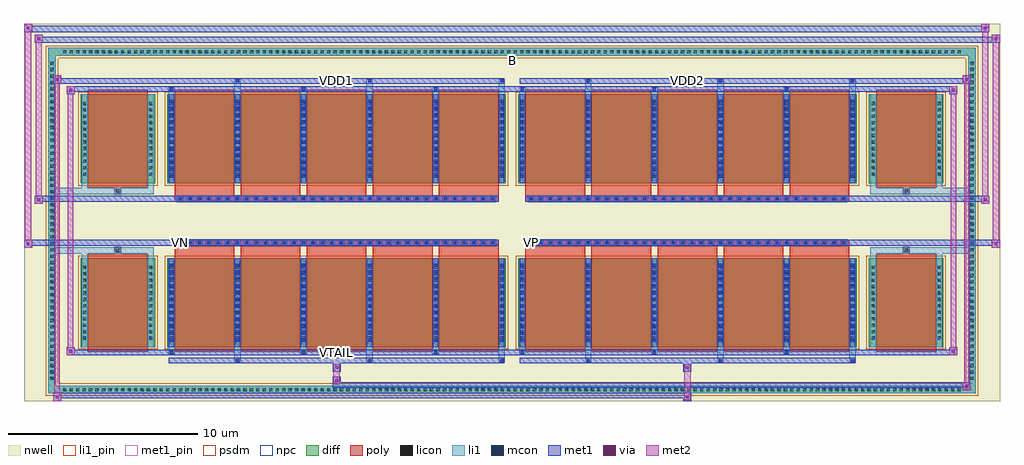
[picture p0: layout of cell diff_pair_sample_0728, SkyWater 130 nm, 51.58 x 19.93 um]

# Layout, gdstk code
import gdstk
lib = gdstk.Library(unit=1e-6, precision=5e-09)
def R(c, l, rs):  # rectangles x0, y0, x1, y1
    for r in rs: c.add(gdstk.rectangle(r[:2], r[2:], *l))
def A(c, l, x, y, w, h, nx, ny, dx, dy):  # array of equal rectangles
    R(c, l, [(x+i*dx, y+j*dy, x+i*dx+w, y+j*dy+h) for i in range(nx) for j in range(ny)])
def P(c, l, *ps):  # polygons
    for p in ps: c.add(gdstk.Polygon(p, *l))
nwell = (64, 20)
diff = (65, 20)
poly = (66, 20)
licon = (66, 44)
li1_pin = (67, 16)
li1 = (67, 20)
mcon = (67, 44)
met1_pin = (68, 16)
met1 = (68, 20)
via = (68, 44)
met2 = (69, 20)
psdm = (94, 20)
npc = (95, 20)

diff_pair_sample_0728 = lib.new_cell('diff_pair_sample_0728')
R(diff_pair_sample_0728, nwell, [(-25.79,-9.53,25.79,10.4), (-23.11,-7.72,-0.01,-0.8), (0.01,-7.72,23.11,-0.8), (-23.11,0.8,-0.01,7.72), (0.01,0.8,23.11,7.72)])
A(diff_pair_sample_0728, diff, -23.835, -9.13, 0.41, 0.41, 140, 2, 0.34, 17.85)
A(diff_pair_sample_0728, diff, -24.52, -8.535, 0.41, 0.41, 1, 50, 0, 0.34)
A(diff_pair_sample_0728, diff, 24.11, -8.535, 0.41, 0.41, 1, 50, 0, 0.34)
R(diff_pair_sample_0728, diff, [(-23.835,-9.13,23.835,-8.72), (-24.52,-8.535,-24.11,8.535), (24.11,-8.535,24.52,8.535), (-22.8,-6.675,-18.86,-1.985), (-18.22,-6.675,-0.32,-1.985), (0.32,-6.675,18.22,-1.985), (18.86,-6.675,22.8,-1.985), (-22.8,1.985,-18.86,6.675), (-18.22,1.985,-0.32,6.675), (0.32,1.985,18.22,6.675), (18.86,1.985,22.8,6.675), (-23.835,8.72,23.835,9.13)])
P(diff_pair_sample_0728, diff, [(24.52,9.13),(-24.52,9.13),(-24.52,-8.72),(-24.11,-8.72),(-24.11,8.72),(24.11,8.72),(24.11,-8.72),(-24.11,-8.72),(-24.52,-8.72),(-24.52,-9.13),(24.52,-9.13)])
A(diff_pair_sample_0728, poly, -17.83, -6.925, 3.16, 5.19, 5, 2, 3.49, 8.66)
A(diff_pair_sample_0728, poly, 0.71, -6.925, 3.16, 5.19, 5, 2, 3.49, 8.66)
A(diff_pair_sample_0728, poly, -17.83, -1.735, 3.16, 0.405, 5, 2, 3.49, 3.065)
A(diff_pair_sample_0728, poly, 0.71, -1.735, 3.16, 0.405, 5, 2, 3.49, 3.065)
A(diff_pair_sample_0728, poly, -17.685, -1.33, 0.33, 0.33, 34, 2, 0.5, 2.33)
A(diff_pair_sample_0728, poly, 0.855, -1.33, 0.33, 0.33, 34, 2, 0.5, 2.33)
R(diff_pair_sample_0728, poly, [(-22.41,-6.925,-19.25,-1.735), (19.25,-6.925,22.41,-1.735), (-20.995,-1.735,-20.665,-1.405), (-20.995,-1.735,-20.665,-1.405), (20.665,-1.735,20.995,-1.405), (20.665,-1.735,20.995,-1.405), (-17.83,-1.33,-0.71,-1), (0.71,-1.33,17.83,-1), (-17.83,1,-0.71,1.33), (0.71,1,17.83,1.33), (-20.995,1.405,-20.665,1.735), (-20.995,1.405,-20.665,1.735), (20.665,1.405,20.995,1.735), (20.665,1.405,20.995,1.735), (-22.41,1.735,-19.25,6.925), (19.25,1.735,22.41,6.925)])
A(diff_pair_sample_0728, licon, -23.715, -9.01, 0.17, 0.17, 140, 2, 0.34, 17.85)
A(diff_pair_sample_0728, licon, -24.4, -8.415, 0.17, 0.17, 1, 50, 0, 0.34)
A(diff_pair_sample_0728, licon, 24.23, -8.415, 0.17, 0.17, 1, 50, 0, 0.34)
A(diff_pair_sample_0728, licon, -22.66, -6.285, 0.17, 0.17, 1, 12, 0, 0.34)
A(diff_pair_sample_0728, licon, -19.17, -6.285, 0.17, 0.17, 1, 12, 0, 0.34)
A(diff_pair_sample_0728, licon, -18.08, -6.285, 0.17, 0.17, 6, 12, 3.49, 0.34)
A(diff_pair_sample_0728, licon, 0.46, -6.285, 0.17, 0.17, 6, 12, 3.49, 0.34)
A(diff_pair_sample_0728, licon, 19, -6.285, 0.17, 0.17, 1, 12, 0, 0.34)
A(diff_pair_sample_0728, licon, 22.49, -6.285, 0.17, 0.17, 1, 12, 0, 0.34)
A(diff_pair_sample_0728, licon, -17.605, -1.25, 0.17, 0.17, 34, 2, 0.5, 2.33)
A(diff_pair_sample_0728, licon, 0.935, -1.25, 0.17, 0.17, 34, 2, 0.5, 2.33)
A(diff_pair_sample_0728, licon, -22.66, 2.375, 0.17, 0.17, 1, 12, 0, 0.34)
A(diff_pair_sample_0728, licon, -19.17, 2.375, 0.17, 0.17, 1, 12, 0, 0.34)
A(diff_pair_sample_0728, licon, -18.08, 2.375, 0.17, 0.17, 6, 12, 3.49, 0.34)
A(diff_pair_sample_0728, licon, 0.46, 2.375, 0.17, 0.17, 6, 12, 3.49, 0.34)
A(diff_pair_sample_0728, licon, 19, 2.375, 0.17, 0.17, 1, 12, 0, 0.34)
A(diff_pair_sample_0728, licon, 22.49, 2.375, 0.17, 0.17, 1, 12, 0, 0.34)
R(diff_pair_sample_0728, licon, [(-20.915,-1.655,-20.745,-1.485), (20.745,-1.655,20.915,-1.485), (-20.915,1.485,-20.745,1.655), (20.745,1.485,20.915,1.655)])
R(diff_pair_sample_0728, li1_pin, [(-0.25,8.22,0.25,8.72)])
A(diff_pair_sample_0728, li1, -23.795, -9.09, 0.33, 0.33, 140, 2, 0.34, 17.85)
A(diff_pair_sample_0728, li1, -24.48, -8.495, 0.33, 0.33, 1, 50, 0, 0.34)
A(diff_pair_sample_0728, li1, 24.15, -8.495, 0.33, 0.33, 1, 50, 0, 0.34)
A(diff_pair_sample_0728, li1, -14.67, -7.48, 0.33, 0.805, 3, 2, 6.98, 14.155)
A(diff_pair_sample_0728, li1, -14.59, -7.48, 0.17, 0.17, 3, 2, 6.98, 14.79)
A(diff_pair_sample_0728, li1, 3.87, -7.48, 0.33, 0.805, 3, 2, 6.98, 14.155)
A(diff_pair_sample_0728, li1, 3.95, -7.48, 0.17, 0.17, 3, 2, 6.98, 14.79)
A(diff_pair_sample_0728, li1, -18.16, -7.05, 0.33, 0.375, 3, 2, 6.98, 13.725)
A(diff_pair_sample_0728, li1, -18.08, -7.05, 0.17, 0.17, 3, 2, 6.98, 13.93)
A(diff_pair_sample_0728, li1, 0.38, -7.05, 0.33, 0.375, 3, 2, 6.98, 13.725)
A(diff_pair_sample_0728, li1, 0.46, -7.05, 0.17, 0.17, 3, 2, 6.98, 13.93)
A(diff_pair_sample_0728, li1, -18.16, -6.675, 0.33, 4.69, 6, 2, 3.49, 8.66)
A(diff_pair_sample_0728, li1, 0.38, -6.675, 0.33, 4.69, 6, 2, 3.49, 8.66)
A(diff_pair_sample_0728, li1, -18.08, -6.395, 0.17, 0.17, 6, 12, 3.49, 0.36)
A(diff_pair_sample_0728, li1, -18.08, -6.395, 0.17, 4.13, 6, 2, 3.49, 8.66)
A(diff_pair_sample_0728, li1, 0.46, -6.395, 0.17, 0.17, 6, 12, 3.49, 0.36)
A(diff_pair_sample_0728, li1, 0.46, -6.395, 0.17, 4.13, 6, 2, 3.49, 8.66)
A(diff_pair_sample_0728, li1, -22.74, -6.365, 0.33, 0.33, 1, 12, 0, 0.34)
A(diff_pair_sample_0728, li1, -19.25, -6.365, 0.33, 0.33, 1, 12, 0, 0.34)
A(diff_pair_sample_0728, li1, -18.16, -6.365, 0.33, 0.33, 6, 12, 3.49, 0.34)
A(diff_pair_sample_0728, li1, 0.38, -6.365, 0.33, 0.33, 6, 12, 3.49, 0.34)
A(diff_pair_sample_0728, li1, 18.92, -6.365, 0.33, 0.33, 1, 12, 0, 0.34)
A(diff_pair_sample_0728, li1, 22.41, -6.365, 0.33, 0.33, 1, 12, 0, 0.34)
A(diff_pair_sample_0728, li1, -17.685, -1.33, 0.33, 0.33, 34, 2, 0.5, 2.33)
A(diff_pair_sample_0728, li1, 0.855, -1.33, 0.33, 0.33, 34, 2, 0.5, 2.33)
A(diff_pair_sample_0728, li1, -18.08, 2.265, 0.17, 0.17, 6, 12, 3.49, 0.36)
A(diff_pair_sample_0728, li1, 0.46, 2.265, 0.17, 0.17, 6, 12, 3.49, 0.36)
A(diff_pair_sample_0728, li1, -22.74, 2.295, 0.33, 0.33, 1, 12, 0, 0.34)
A(diff_pair_sample_0728, li1, -19.25, 2.295, 0.33, 0.33, 1, 12, 0, 0.34)
A(diff_pair_sample_0728, li1, -18.16, 2.295, 0.33, 0.33, 6, 12, 3.49, 0.34)
A(diff_pair_sample_0728, li1, 0.38, 2.295, 0.33, 0.33, 6, 12, 3.49, 0.34)
A(diff_pair_sample_0728, li1, 18.92, 2.295, 0.33, 0.33, 1, 12, 0, 0.34)
A(diff_pair_sample_0728, li1, 22.41, 2.295, 0.33, 0.33, 1, 12, 0, 0.34)
R(diff_pair_sample_0728, li1, [(-24.52,-9.13,-24.11,-8.72), (-24.52,-9.13,-24.11,-8.72), (-24.11,-9.13,24.11,-8.72), (24.11,-9.13,24.52,-8.72), (24.11,-9.13,24.52,-8.72), (-24.52,-8.72,-24.11,8.72), (24.11,-8.72,24.52,8.72), (-22.74,-6.675,-22.41,-1.985), (-19.25,-6.675,-18.92,-1.985), (18.92,-6.675,19.25,-1.985), (22.41,-6.675,22.74,-1.985), (-22.74,-1.985,-22.41,-1.405), (-19.25,-1.985,-18.92,-1.405), (18.92,-1.985,19.25,-1.405), (22.41,-1.985,22.74,-1.405), (-24.52,-1.735,-20.995,-1.405), (-22.74,-1.735,-20.995,-1.405), (-20.995,-1.735,-20.665,-1.405), (-20.665,-1.735,-18.92,-1.405), (18.92,-1.735,20.665,-1.405), (20.665,-1.735,20.995,-1.405), (20.665,-1.735,24.52,-1.405), (20.995,-1.735,22.74,-1.405), (-24.52,1.405,-20.995,1.735), (-22.74,1.405,-20.995,1.735), (-22.74,1.405,-22.41,1.985), (-20.995,1.405,-20.665,1.735), (-20.665,1.405,-18.92,1.735), (-19.25,1.405,-18.92,1.985), (18.92,1.405,20.665,1.735), (18.92,1.405,19.25,1.985), (20.665,1.405,20.995,1.735), (20.665,1.405,24.52,1.735), (20.995,1.405,22.74,1.735), (22.41,1.405,22.74,1.985), (-22.74,1.985,-22.41,6.675), (-19.25,1.985,-18.92,6.675), (18.92,1.985,19.25,6.675), (22.41,1.985,22.74,6.675), (-24.52,8.72,-24.11,9.13), (-24.52,8.72,-24.11,9.13), (-24.11,8.72,24.11,9.13), (24.11,8.72,24.52,9.13), (24.11,8.72,24.52,9.13)])
A(diff_pair_sample_0728, mcon, -14.59, -7.48, 0.17, 0.17, 3, 2, 6.98, 14.79)
A(diff_pair_sample_0728, mcon, 3.95, -7.48, 0.17, 0.17, 3, 2, 6.98, 14.79)
A(diff_pair_sample_0728, mcon, -18.08, -7.05, 0.17, 0.17, 3, 2, 6.98, 13.93)
A(diff_pair_sample_0728, mcon, 0.46, -7.05, 0.17, 0.17, 3, 2, 6.98, 13.93)
A(diff_pair_sample_0728, mcon, -18.08, -6.395, 0.17, 0.17, 6, 12, 3.49, 0.36)
A(diff_pair_sample_0728, mcon, 0.46, -6.395, 0.17, 0.17, 6, 12, 3.49, 0.36)
A(diff_pair_sample_0728, mcon, -17.605, -1.25, 0.17, 0.17, 34, 2, 0.5, 2.33)
A(diff_pair_sample_0728, mcon, 0.935, -1.25, 0.17, 0.17, 34, 2, 0.5, 2.33)
A(diff_pair_sample_0728, mcon, -18.08, 2.265, 0.17, 0.17, 6, 12, 3.49, 0.36)
A(diff_pair_sample_0728, mcon, 0.46, 2.265, 0.17, 0.17, 6, 12, 3.49, 0.36)
R(diff_pair_sample_0728, met1_pin, [(-9.405,-7.09,-9.135,-6.82), (-17.655,-1.29,-17.385,-1.02), (0.885,-1.29,1.155,-1.02), (-9.405,7.27,-9.135,7.54), (9.135,7.27,9.405,7.54)])
A(diff_pair_sample_0728, met1, -14.65, -7.54, 0.29, 0.29, 3, 2, 6.98, 14.79)
A(diff_pair_sample_0728, met1, 3.89, -7.54, 0.29, 0.29, 3, 2, 6.98, 14.79)
A(diff_pair_sample_0728, met1, -18.14, -7.11, 0.29, 0.29, 3, 2, 6.98, 13.93)
A(diff_pair_sample_0728, met1, 0.4, -7.11, 0.29, 0.29, 3, 2, 6.98, 13.93)
A(diff_pair_sample_0728, met1, -18.14, -6.675, 0.29, 4.69, 6, 2, 3.49, 8.66)
A(diff_pair_sample_0728, met1, 0.4, -6.675, 0.29, 4.69, 6, 2, 3.49, 8.66)
A(diff_pair_sample_0728, met1, -18.14, -6.455, 0.29, 0.29, 6, 12, 3.49, 0.36)
A(diff_pair_sample_0728, met1, 0.4, -6.455, 0.29, 0.29, 6, 12, 3.49, 0.36)
A(diff_pair_sample_0728, met1, -17.665, -1.31, 0.29, 0.29, 34, 2, 0.5, 2.33)
A(diff_pair_sample_0728, met1, 0.875, -1.31, 0.29, 0.29, 34, 2, 0.5, 2.33)
A(diff_pair_sample_0728, met1, -18.14, 2.205, 0.29, 0.29, 6, 12, 3.49, 0.36)
A(diff_pair_sample_0728, met1, 0.4, 2.205, 0.29, 0.29, 6, 12, 3.49, 0.36)
R(diff_pair_sample_0728, met1, [(-24.25,-9.53,-23.82,-9.1), (9.055,-9.53,9.485,-9.1), (-24.25,-9.39,9.485,-9.1), (23.82,-8.96,24.25,-8.53), (-9.485,-8.82,24.25,-8.53), (-9.485,-8.68,-9.055,-8.25), (-9.485,-7.97,-9.055,-7.54), (9.055,-7.97,9.485,-7.54), (-18.14,-7.54,-0.4,-7.25), (0.4,-7.54,18.14,-7.25), (-23.54,-7.11,-23.11,-6.68), (-23.54,-7.11,-18.14,-6.82), (-18.14,-7.11,-0.4,-6.82), (-0.4,-7.11,0.4,-6.82), (0.4,-7.11,18.14,-6.82), (18.14,-7.11,23.54,-6.82), (23.11,-7.11,23.54,-6.68), (-25.79,-1.43,-25.36,-1), (25.36,-1.43,25.79,-1), (-25.79,-1.33,-0.71,-1), (-17.83,-1.33,-0.71,-1), (0.71,-1.33,17.83,-1), (0.71,-1.33,25.79,-1), (-25.22,0.9,-24.79,1.33), (24.79,0.9,25.22,1.33), (-25.22,1,-17.83,1.33), (-17.83,1,-0.71,1.33), (0.71,1,17.83,1.33), (17.83,1,25.22,1.33), (-23.54,6.68,-23.11,7.11), (23.11,6.68,23.54,7.11), (-23.54,6.82,-18.14,7.11), (-18.14,6.82,-0.4,7.11), (-0.4,6.82,0.4,7.11), (0.4,6.82,18.14,7.11), (18.14,6.82,23.54,7.11), (-24.25,7.25,-23.82,7.68), (-24.25,7.25,-18.14,7.54), (-18.14,7.25,-0.4,7.54), (0.4,7.25,18.14,7.54), (18.14,7.25,24.25,7.54), (23.82,7.25,24.25,7.68), (-25.22,9.4,-24.79,9.83), (-25.22,9.4,-23.11,9.73), (-23.11,9.4,23.11,9.73), (23.11,9.4,25.79,9.73), (25.36,9.4,25.79,9.83), (-25.79,9.97,-25.36,10.4), (-25.79,9.97,-23.11,10.3), (-23.11,9.97,23.11,10.3), (23.11,9.97,25.22,10.3), (24.79,9.97,25.22,10.4)])
R(diff_pair_sample_0728, via, [(-24.11,-9.39,-23.96,-9.24), (9.195,-9.39,9.345,-9.24), (23.96,-8.82,24.11,-8.67), (-9.345,-8.54,-9.195,-8.39), (-9.345,-7.83,-9.195,-7.68), (9.195,-7.83,9.345,-7.68), (-23.4,-6.97,-23.25,-6.82), (23.25,-6.97,23.4,-6.82), (-25.65,-1.29,-25.5,-1.14), (25.5,-1.29,25.65,-1.14), (-25.08,1.04,-24.93,1.19), (24.93,1.04,25.08,1.19), (-23.4,6.82,-23.25,6.97), (23.25,6.82,23.4,6.97), (-24.11,7.39,-23.96,7.54), (23.96,7.39,24.11,7.54), (-25.08,9.54,-24.93,9.69), (25.5,9.54,25.65,9.69), (-25.65,10.11,-25.5,10.26), (24.93,10.11,25.08,10.26)])
R(diff_pair_sample_0728, met2, [(-24.25,-9.53,-23.82,-9.1), (-24.18,-9.53,-23.89,7.68), (-23.89,-9.53,-23.82,-9.1), (-24.2,-9.48,-23.87,-9.15), (9.105,-9.48,9.435,-9.15), (9.105,-9.15,9.435,-7.92), (23.82,-8.96,24.25,-8.53), (23.89,-8.96,24.18,7.68), (24.18,-8.96,24.25,-8.53), (23.87,-8.91,24.2,-8.58), (-9.435,-8.63,-9.105,-8.3), (-9.435,-8.3,-9.105,-7.92), (-9.435,-7.92,-9.105,-7.59), (9.105,-7.92,9.435,-7.59), (-23.54,-7.11,-23.11,-6.68), (-23.47,-7.11,-23.18,7.11), (-23.18,-7.11,-23.11,-6.68), (23.11,-7.11,23.54,-6.68), (23.18,-7.11,23.47,7.11), (23.47,-7.11,23.54,-6.68), (-23.49,-7.06,-23.16,-6.73), (23.16,-7.06,23.49,-6.73), (-25.79,-1.43,-25.36,-1), (-25.74,-1.43,-25.41,10.4), (-25.41,-1.43,-25.36,-1), (25.36,-1.43,25.79,-1), (25.41,-1.43,25.74,9.83), (25.74,-1.43,25.79,-1), (-25.74,-1.38,-25.41,-1.05), (25.41,-1.38,25.74,-1.05), (-25.22,0.9,-24.79,1.33), (-25.17,0.9,-24.84,9.83), (-24.84,0.9,-24.79,1.33), (24.79,0.9,25.22,1.33), (24.84,0.9,25.17,10.4), (25.17,0.9,25.22,1.33), (-25.17,0.95,-24.84,1.28), (24.84,0.95,25.17,1.28), (-23.54,6.68,-23.11,7.11), (-23.18,6.68,-23.11,7.11), (23.11,6.68,23.54,7.11), (23.47,6.68,23.54,7.11), (-23.49,6.73,-23.16,7.06), (23.16,6.73,23.49,7.06), (-24.25,7.25,-23.82,7.68), (-23.89,7.25,-23.82,7.68), (23.82,7.25,24.25,7.68), (24.18,7.25,24.25,7.68), (-24.2,7.3,-23.87,7.63), (23.87,7.3,24.2,7.63), (-25.22,9.4,-24.79,9.83), (-24.84,9.4,-24.79,9.83), (25.36,9.4,25.79,9.83), (25.74,9.4,25.79,9.83), (-25.17,9.45,-24.84,9.78), (25.41,9.45,25.74,9.78), (-25.79,9.97,-25.36,10.4), (-25.41,9.97,-25.36,10.4), (24.79,9.97,25.22,10.4), (25.17,9.97,25.22,10.4), (-25.74,10.02,-25.41,10.35), (24.84,10.02,25.17,10.35)])
R(diff_pair_sample_0728, psdm, [(-22.93,-6.805,-18.73,-1.855), (-18.35,-6.805,-0.19,-1.855), (0.19,-6.805,18.35,-1.855), (18.73,-6.805,22.93,-1.855), (-22.93,1.855,-18.73,6.805), (-18.35,1.855,-0.19,6.805), (0.19,1.855,18.35,6.805), (18.73,1.855,22.93,6.805)])
P(diff_pair_sample_0728, psdm, [(24.65,9.26),(-24.65,9.26),(-24.65,-8.59),(-23.98,-8.59),(-23.98,8.59),(23.98,8.59),(23.98,-8.59),(-23.98,-8.59),(-24.65,-8.59),(-24.65,-9.26),(24.65,-9.26)])
A(diff_pair_sample_0728, npc, -17.705, -1.35, 0.37, 0.37, 34, 2, 0.5, 2.33)
A(diff_pair_sample_0728, npc, 0.835, -1.35, 0.37, 0.37, 34, 2, 0.5, 2.33)
R(diff_pair_sample_0728, npc, [(-21.015,-1.755,-20.645,-1.385), (20.645,-1.755,21.015,-1.385), (-17.705,-1.35,-16.835,-0.98), (-17.705,-1.35,-16.835,-0.98), (-17.205,-1.35,-16.335,-0.98), (-17.205,-1.35,-16.335,-0.98), (-16.705,-1.35,-15.835,-0.98), (-16.705,-1.35,-15.835,-0.98), (-16.205,-1.35,-15.335,-0.98), (-16.205,-1.35,-15.335,-0.98), (-15.705,-1.35,-14.835,-0.98), (-15.705,-1.35,-14.835,-0.98), (-15.205,-1.35,-14.335,-0.98), (-15.205,-1.35,-14.335,-0.98), (-14.705,-1.35,-13.835,-0.98), (-14.705,-1.35,-13.835,-0.98), (-14.205,-1.35,-13.335,-0.98), (-14.205,-1.35,-13.335,-0.98), (-13.705,-1.35,-12.835,-0.98), (-13.705,-1.35,-12.835,-0.98), (-13.205,-1.35,-12.335,-0.98), (-13.205,-1.35,-12.335,-0.98), (-12.705,-1.35,-11.835,-0.98), (-12.705,-1.35,-11.835,-0.98), (-12.205,-1.35,-11.335,-0.98), (-12.205,-1.35,-11.335,-0.98), (-11.705,-1.35,-10.835,-0.98), (-11.705,-1.35,-10.835,-0.98), (-11.205,-1.35,-10.335,-0.98), (-11.205,-1.35,-10.335,-0.98), (-10.705,-1.35,-9.835,-0.98), (-10.705,-1.35,-9.835,-0.98), (-10.205,-1.35,-9.335,-0.98), (-10.205,-1.35,-9.335,-0.98), (-9.705,-1.35,-8.835,-0.98), (-9.705,-1.35,-8.835,-0.98), (-9.205,-1.35,-8.335,-0.98), (-9.205,-1.35,-8.335,-0.98), (-8.705,-1.35,-7.835,-0.98), (-8.705,-1.35,-7.835,-0.98), (-8.205,-1.35,-7.335,-0.98), (-8.205,-1.35,-7.335,-0.98), (-7.705,-1.35,-6.835,-0.98), (-7.705,-1.35,-6.835,-0.98), (-7.205,-1.35,-6.335,-0.98), (-7.205,-1.35,-6.335,-0.98), (-6.705,-1.35,-5.835,-0.98), (-6.705,-1.35,-5.835,-0.98), (-6.205,-1.35,-5.335,-0.98), (-6.205,-1.35,-5.335,-0.98), (-5.705,-1.35,-4.835,-0.98), (-5.705,-1.35,-4.835,-0.98), (-5.205,-1.35,-4.335,-0.98), (-5.205,-1.35,-4.335,-0.98), (-4.705,-1.35,-3.835,-0.98), (-4.705,-1.35,-3.835,-0.98), (-4.205,-1.35,-3.335,-0.98), (-4.205,-1.35,-3.335,-0.98), (-3.705,-1.35,-2.835,-0.98), (-3.705,-1.35,-2.835,-0.98), (-3.205,-1.35,-2.335,-0.98), (-3.205,-1.35,-2.335,-0.98), (-2.705,-1.35,-1.835,-0.98), (-2.705,-1.35,-1.835,-0.98), (-2.205,-1.35,-1.335,-0.98), (-2.205,-1.35,-1.335,-0.98), (-1.705,-1.35,-0.835,-0.98), (-1.705,-1.35,-0.835,-0.98), (0.835,-1.35,1.705,-0.98), (0.835,-1.35,1.705,-0.98), (1.335,-1.35,2.205,-0.98), (1.335,-1.35,2.205,-0.98), (1.835,-1.35,2.705,-0.98), (1.835,-1.35,2.705,-0.98), (2.335,-1.35,3.205,-0.98), (2.335,-1.35,3.205,-0.98), (2.835,-1.35,3.705,-0.98), (2.835,-1.35,3.705,-0.98), (3.335,-1.35,4.205,-0.98), (3.335,-1.35,4.205,-0.98), (3.835,-1.35,4.705,-0.98), (3.835,-1.35,4.705,-0.98), (4.335,-1.35,5.205,-0.98), (4.335,-1.35,5.205,-0.98), (4.835,-1.35,5.705,-0.98), (4.835,-1.35,5.705,-0.98), (5.335,-1.35,6.205,-0.98), (5.335,-1.35,6.205,-0.98), (5.835,-1.35,6.705,-0.98), (5.835,-1.35,6.705,-0.98), (6.335,-1.35,7.205,-0.98), (6.335,-1.35,7.205,-0.98), (6.835,-1.35,7.705,-0.98), (6.835,-1.35,7.705,-0.98), (7.335,-1.35,8.205,-0.98), (7.335,-1.35,8.205,-0.98), (7.835,-1.35,8.705,-0.98), (7.835,-1.35,8.705,-0.98), (8.335,-1.35,9.205,-0.98), (8.335,-1.35,9.205,-0.98), (8.835,-1.35,9.705,-0.98), (8.835,-1.35,9.705,-0.98), (9.335,-1.35,10.205,-0.98), (9.335,-1.35,10.205,-0.98), (9.835,-1.35,10.705,-0.98), (9.835,-1.35,10.705,-0.98), (10.335,-1.35,11.205,-0.98), (10.335,-1.35,11.205,-0.98), (10.835,-1.35,11.705,-0.98), (10.835,-1.35,11.705,-0.98), (11.335,-1.35,12.205,-0.98), (11.335,-1.35,12.205,-0.98), (11.835,-1.35,12.705,-0.98), (11.835,-1.35,12.705,-0.98), (12.335,-1.35,13.205,-0.98), (12.335,-1.35,13.205,-0.98), (12.835,-1.35,13.705,-0.98), (12.835,-1.35,13.705,-0.98), (13.335,-1.35,14.205,-0.98), (13.335,-1.35,14.205,-0.98), (13.835,-1.35,14.705,-0.98), (13.835,-1.35,14.705,-0.98), (14.335,-1.35,15.205,-0.98), (14.335,-1.35,15.205,-0.98), (14.835,-1.35,15.705,-0.98), (14.835,-1.35,15.705,-0.98), (15.335,-1.35,16.205,-0.98), (15.335,-1.35,16.205,-0.98), (15.835,-1.35,16.705,-0.98), (15.835,-1.35,16.705,-0.98), (16.335,-1.35,17.205,-0.98), (16.335,-1.35,17.205,-0.98), (16.835,-1.35,17.705,-0.98), (16.835,-1.35,17.705,-0.98), (-17.705,0.98,-16.835,1.35), (-17.705,0.98,-16.835,1.35), (-17.205,0.98,-16.335,1.35), (-17.205,0.98,-16.335,1.35), (-16.705,0.98,-15.835,1.35), (-16.705,0.98,-15.835,1.35), (-16.205,0.98,-15.335,1.35), (-16.205,0.98,-15.335,1.35), (-15.705,0.98,-14.835,1.35), (-15.705,0.98,-14.835,1.35), (-15.205,0.98,-14.335,1.35), (-15.205,0.98,-14.335,1.35), (-14.705,0.98,-13.835,1.35), (-14.705,0.98,-13.835,1.35), (-14.205,0.98,-13.335,1.35), (-14.205,0.98,-13.335,1.35), (-13.705,0.98,-12.835,1.35), (-13.705,0.98,-12.835,1.35), (-13.205,0.98,-12.335,1.35), (-13.205,0.98,-12.335,1.35), (-12.705,0.98,-11.835,1.35), (-12.705,0.98,-11.835,1.35), (-12.205,0.98,-11.335,1.35), (-12.205,0.98,-11.335,1.35), (-11.705,0.98,-10.835,1.35), (-11.705,0.98,-10.835,1.35), (-11.205,0.98,-10.335,1.35), (-11.205,0.98,-10.335,1.35), (-10.705,0.98,-9.835,1.35), (-10.705,0.98,-9.835,1.35), (-10.205,0.98,-9.335,1.35), (-10.205,0.98,-9.335,1.35), (-9.705,0.98,-8.835,1.35), (-9.705,0.98,-8.835,1.35), (-9.205,0.98,-8.335,1.35), (-9.205,0.98,-8.335,1.35), (-8.705,0.98,-7.835,1.35), (-8.705,0.98,-7.835,1.35), (-8.205,0.98,-7.335,1.35), (-8.205,0.98,-7.335,1.35), (-7.705,0.98,-6.835,1.35), (-7.705,0.98,-6.835,1.35), (-7.205,0.98,-6.335,1.35), (-7.205,0.98,-6.335,1.35), (-6.705,0.98,-5.835,1.35), (-6.705,0.98,-5.835,1.35), (-6.205,0.98,-5.335,1.35), (-6.205,0.98,-5.335,1.35), (-5.705,0.98,-4.835,1.35), (-5.705,0.98,-4.835,1.35), (-5.205,0.98,-4.335,1.35), (-5.205,0.98,-4.335,1.35), (-4.705,0.98,-3.835,1.35), (-4.705,0.98,-3.835,1.35), (-4.205,0.98,-3.335,1.35), (-4.205,0.98,-3.335,1.35), (-3.705,0.98,-2.835,1.35), (-3.705,0.98,-2.835,1.35), (-3.205,0.98,-2.335,1.35), (-3.205,0.98,-2.335,1.35), (-2.705,0.98,-1.835,1.35), (-2.705,0.98,-1.835,1.35), (-2.205,0.98,-1.335,1.35), (-2.205,0.98,-1.335,1.35), (-1.705,0.98,-0.835,1.35), (-1.705,0.98,-0.835,1.35), (0.835,0.98,1.705,1.35), (0.835,0.98,1.705,1.35), (1.335,0.98,2.205,1.35), (1.335,0.98,2.205,1.35), (1.835,0.98,2.705,1.35), (1.835,0.98,2.705,1.35), (2.335,0.98,3.205,1.35), (2.335,0.98,3.205,1.35), (2.835,0.98,3.705,1.35), (2.835,0.98,3.705,1.35), (3.335,0.98,4.205,1.35), (3.335,0.98,4.205,1.35), (3.835,0.98,4.705,1.35), (3.835,0.98,4.705,1.35), (4.335,0.98,5.205,1.35), (4.335,0.98,5.205,1.35), (4.835,0.98,5.705,1.35), (4.835,0.98,5.705,1.35), (5.335,0.98,6.205,1.35), (5.335,0.98,6.205,1.35), (5.835,0.98,6.705,1.35), (5.835,0.98,6.705,1.35), (6.335,0.98,7.205,1.35), (6.335,0.98,7.205,1.35), (6.835,0.98,7.705,1.35), (6.835,0.98,7.705,1.35), (7.335,0.98,8.205,1.35), (7.335,0.98,8.205,1.35), (7.835,0.98,8.705,1.35), (7.835,0.98,8.705,1.35), (8.335,0.98,9.205,1.35), (8.335,0.98,9.205,1.35), (8.835,0.98,9.705,1.35), (8.835,0.98,9.705,1.35), (9.335,0.98,10.205,1.35), (9.335,0.98,10.205,1.35), (9.835,0.98,10.705,1.35), (9.835,0.98,10.705,1.35), (10.335,0.98,11.205,1.35), (10.335,0.98,11.205,1.35), (10.835,0.98,11.705,1.35), (10.835,0.98,11.705,1.35), (11.335,0.98,12.205,1.35), (11.335,0.98,12.205,1.35), (11.835,0.98,12.705,1.35), (11.835,0.98,12.705,1.35), (12.335,0.98,13.205,1.35), (12.335,0.98,13.205,1.35), (12.835,0.98,13.705,1.35), (12.835,0.98,13.705,1.35), (13.335,0.98,14.205,1.35), (13.335,0.98,14.205,1.35), (13.835,0.98,14.705,1.35), (13.835,0.98,14.705,1.35), (14.335,0.98,15.205,1.35), (14.335,0.98,15.205,1.35), (14.835,0.98,15.705,1.35), (14.835,0.98,15.705,1.35), (15.335,0.98,16.205,1.35), (15.335,0.98,16.205,1.35), (15.835,0.98,16.705,1.35), (15.835,0.98,16.705,1.35), (16.335,0.98,17.205,1.35), (16.335,0.98,17.205,1.35), (16.835,0.98,17.705,1.35), (16.835,0.98,17.705,1.35), (-21.015,1.385,-20.645,1.755), (20.645,1.385,21.015,1.755)])
diff_pair_sample_0728.add(gdstk.Label('VTAIL', (-9.27,-6.955), layer=68, texttype=5))
diff_pair_sample_0728.add(gdstk.Label('VN', (-17.52,-1.155), layer=68, texttype=5))
diff_pair_sample_0728.add(gdstk.Label('VP', (1.02,-1.155), layer=68, texttype=5))
diff_pair_sample_0728.add(gdstk.Label('B', (0,8.47), layer=67, texttype=5))
diff_pair_sample_0728.add(gdstk.Label('VDD2', (9.27,7.405), layer=68, texttype=5))
diff_pair_sample_0728.add(gdstk.Label('VDD1', (-9.27,7.405), layer=68, texttype=5))

lib.write_gds('diff_pair_sample_0728.gds')
